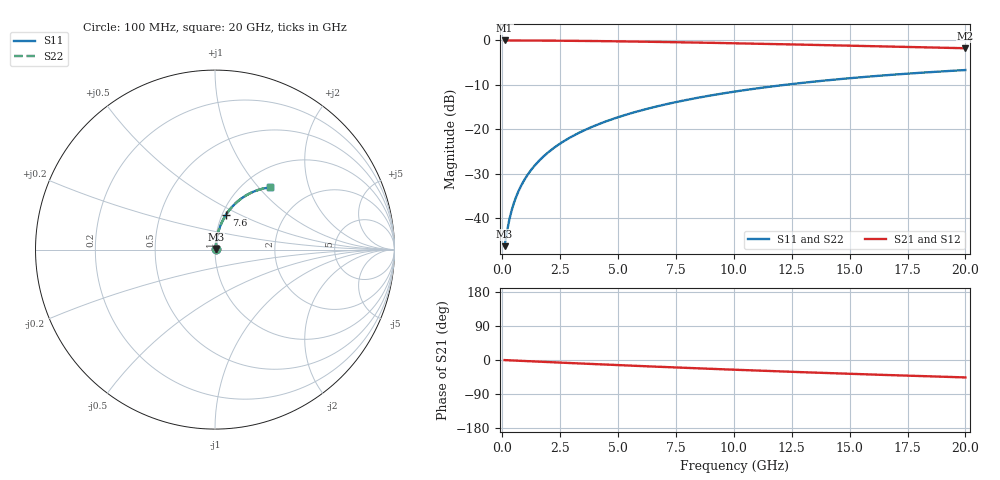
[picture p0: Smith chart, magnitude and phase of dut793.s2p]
! Touchstone file exported from HFSS 2024.1.0
!  File:  C:/UserFiles/LocalFiles/RDL_TSV_Batchsim/temp_RDL_bottom_793_1779861603.aedt
!  Generated:  02:02:31 PM May 27, 2026
!  Design:  RDL_bottom
!  Project:  temp_RDL_bottom_793_1779861603
!  Setup:  Setup1
!  Solution:  Sweep
! Variables:
!  dtsv = 10.80580581um
!  hbump = 3um
!  htsv = 60.59um
!  ldown = 650.41um
!  lrdl = 100um
!  p = 40
!  p1 = 45.1um
!  rhole = 1um
!  t = 450um
!  tdown = 4.35um
!  trdl = 3.915915916um
!  wdown = 13.97um
!  wrdl = 20um
# GHz S MA R 50.000000
! Terminal data exported
! Port[1] = RDL1_T1
! Port[2] = RDL1_T2
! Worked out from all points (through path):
!   200 points, 100 MHz to 20 GHz, reference 50 ohm
!   highest |S21| = -0.03 dB at 100 MHz (marker M1); lowest = -1.8 dB at 20 GHz (marker M2)
!   group delay of S21, straight-line fit = 6.37 ps
!   lowest |S11| = -46.3 dB at 100 MHz (marker M3), VSWR 1.01, Z = 50.4 + j0.292 ohm
!   |S11| at or under -10 dB: start of sweep to 12.24 GHz
!   |S22| runs from -46.3 to -6.7 dB; largest |S21 - S12| = 1.2e-14
!   S11 on the Smith chart (normalised r, x): 100 MHz: 1.01, +0.01; 7.6 GHz: 1.04, +0.42; 20 GHz: 1.31, +1.15
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0.1  0.004832 36.8  0.9961 -0.3  0.9961 -0.3  0.004832 36.8
! Gamma 0 0 0 0
! Port Impedance 50 0 50 0
0.2  0.006998 55.3  0.996 -0.6  0.996 -0.6  0.006998 55.3
0.3  0.009504 64.1  0.9959 -0.8  0.9959 -0.8  0.009504 64.1
0.4  0.01211 69.1  0.9957 -1.1  0.9957 -1.1  0.01211 69.1
0.5  0.01475 72.3  0.9955 -1.4  0.9955 -1.4  0.01475 72.3
0.6  0.01741 74.5  0.9954 -1.7  0.9954 -1.7  0.01741 74.5
0.8  0.02277 77.2  0.995 -2.2  0.995 -2.2  0.02277 77.2
1.1  0.03087 79.4  0.9944 -3.1  0.9944 -3.1  0.03087 79.4
1.5  0.04174 80.6  0.9934 -4.1  0.9934 -4.1  0.04174 80.6
1.8  0.04992 80.9  0.9924 -5.0  0.9924 -5.0  0.04992 80.9
2.1  0.05809 81.0  0.9913 -5.8  0.9913 -5.8  0.05809 81.0
2.7  0.07443 80.7  0.9887 -7.4  0.9887 -7.4  0.07443 80.7
3.5  0.09612 79.7  0.9843 -9.5  0.9843 -9.5  0.09612 79.7
4.2  0.115 78.6  0.9798 -11.4  0.9798 -11.4  0.115 78.7
5  0.1364 77.3  0.9739 -13.5  0.9739 -13.5  0.1364 77.3
5.9  0.1602 75.7  0.9666 -15.8  0.9666 -15.8  0.1602 75.7
6.8  0.1837 73.9  0.9586 -18.0  0.9586 -18.0  0.1838 74.0
7.6  0.2044 72.4  0.951 -20.0  0.951 -20.0  0.2044 72.4
10.1  0.2665 67.4  0.9254 -25.8  0.9254 -25.8  0.2665 67.4
13.4  0.3416 60.8  0.8888 -33.1  0.8888 -33.1  0.3417 60.8
16.7  0.4072 54.4  0.8511 -39.8  0.8511 -39.8  0.4073 54.4
20  0.463 48.4  0.8142 -46.0  0.8142 -46.0  0.4632 48.5
